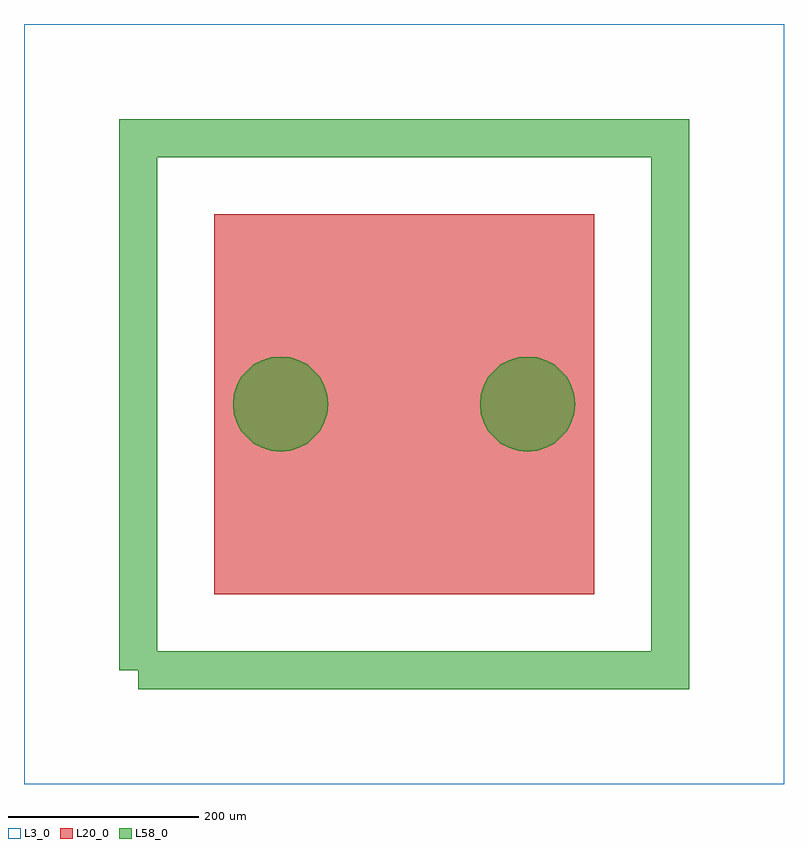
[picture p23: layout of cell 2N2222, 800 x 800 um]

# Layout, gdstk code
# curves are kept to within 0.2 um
import gdstk
lib = gdstk.Library(unit=1e-6, precision=1e-09)
def R(c, l, rs):  # rectangles x0, y0, x1, y1
    for r in rs: c.add(gdstk.rectangle(r[:2], r[2:], *l))
def P(c, l, *ps):  # polygons
    for p in ps: c.add(gdstk.Polygon(p, *l))
L3_0 = (3, 0)
L20_0 = (20, 0)
L58_0 = (58, 0)

chip_pin = lib.new_cell('chip_pin')
P(chip_pin, L58_0, [(50,0),(49,10),(46,19),(42,28),(28,42),(19,46),(10,49),(0,50),(-10,49),(-19,46),(-28,42),(-42,28),(-46,19),(-49,10),(-50,0),(-49,-10),(-46,-19),(-42,-28),(-28,-42),(-19,-46),(-10,-49),(0,-50),(10,-49),(19,-46),(28,-42),(42,-28),(46,-19),(49,-10)])

c_2n2222 = lib.new_cell('2N2222')
R(c_2n2222, L3_0, [(-400,-400,400,400)])
R(c_2n2222, L20_0, [(-200,-200,200,200)])
c_2n2222.add(gdstk.FlexPath([(-280,-280),(280,-280),(280,280),(-280,280),(-280,-280)], 40, ends="flush", simple_path=True, layer=58, datatype=0))  # L58_0
c_2n2222.add(gdstk.Reference(chip_pin, (-130,0)))
c_2n2222.add(gdstk.Reference(chip_pin, (130,0)))

lib.write_gds('2N2222.gds')
